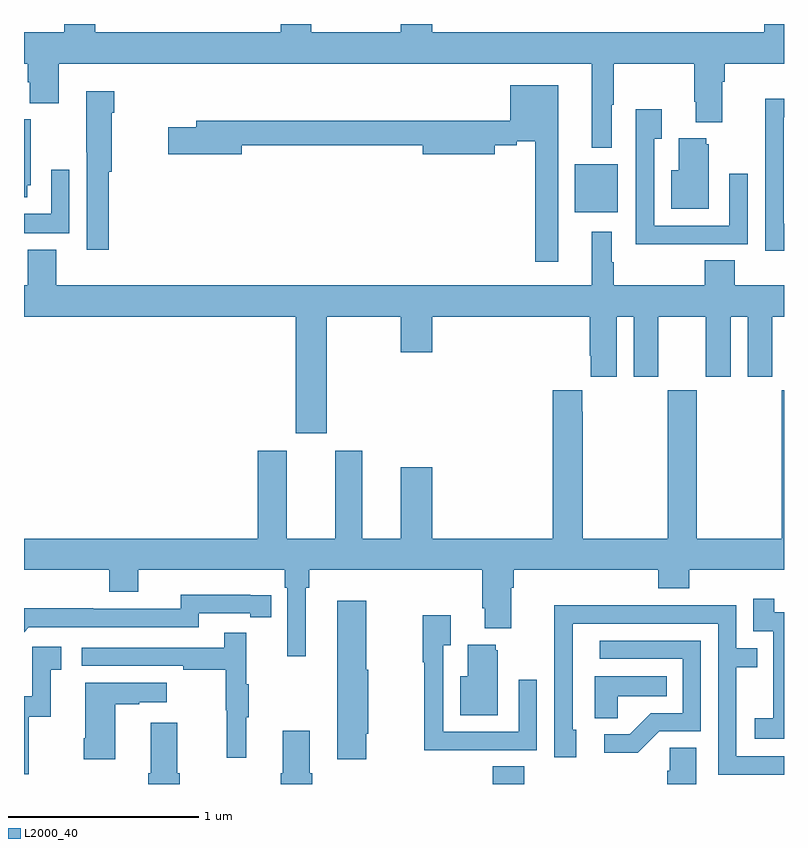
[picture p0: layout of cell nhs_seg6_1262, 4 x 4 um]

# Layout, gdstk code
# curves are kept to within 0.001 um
import gdstk
lib = gdstk.Library(unit=1e-6, precision=1e-09)
def R(c, l, rs):  # rectangles x0, y0, x1, y1
    for r in rs: c.add(gdstk.rectangle(r[:2], r[2:], *l))
def P(c, l, *ps):  # polygons
    for p in ps: c.add(gdstk.Polygon(p, *l))
L2000_40 = (2000, 40)

nhs_seg6_1262 = lib.new_cell('nhs_seg6_1262')
R(nhs_seg6_1262, L2000_40, [(189.467,987.5,189.632,987.593), (189.899,990.509,190.126,990.763)])
P(nhs_seg6_1262, L2000_40, [(190.093,991.076),(190.103,991.076),(190.103,991.292),(190.528,991.292),(190.528,991.09),(190.535,991.09),(190.535,990.983),(190.675,990.983),(190.675,991.196),(190.688,991.196),(190.688,991.292),(191,991.292),(191,991.5),(190.895,991.5),(190.895,991.456),(189.148,991.456),(189.148,991.5),(188.984,991.5),(188.984,991.456),(188.511,991.456),(188.511,991.5),(188.351,991.5),(188.351,991.456),(187.376,991.456),(187.376,991.5),(187.211,991.5),(187.211,991.456),(187,991.456),(187,991.292),(187.019,991.292),(187.019,991.193),(187.031,991.193),(187.031,991.084),(187.184,991.084),(187.184,991.292),(189.989,991.292),(189.989,990.848),(190.093,990.848)],
  [(189.811,991.177),(189.56,991.177),(189.56,990.991),(187.907,990.991),(187.907,990.957),(187.758,990.957),(187.758,990.815),(188.146,990.815),(188.146,990.862),(189.098,990.862),(189.098,990.815),(189.478,990.815),(189.478,990.862),(189.593,990.862),(189.593,990.882),(189.69,990.882),(189.69,990.249),(189.811,990.249)],
  [(187.445,990.722),(187.462,990.722),(187.462,991.034),(187.475,991.034),(187.475,991.147),(187.328,991.147),(187.328,990.826),(187.329,990.826),(187.329,990.312),(187.445,990.312)],
  [(191,990.45),(190.998,990.45),(190.998,991.008),(191,991.008),(191,991.106),(190.9,991.106),(190.9,990.799),(190.902,990.799),(190.902,990.306),(191,990.306)],
  [(190.493,990.342),(190.809,990.342),(190.809,990.712),(190.713,990.712),(190.713,990.438),(190.317,990.438),(190.317,990.895),(190.357,990.895),(190.357,991.051),(190.221,991.051),(190.221,990.341),(190.493,990.341)],
  [(187.018,990.651),(187.036,990.651),(187.036,990.999),(187,990.999),(187,990.588),(187.018,990.588)],
  [(190.603,990.867),(190.592,990.867),(190.592,990.898),(190.445,990.898),(190.445,990.73),(190.406,990.73),(190.406,990.527),(190.603,990.527)],
  [(187.239,990.733),(187.143,990.733),(187.143,990.502),(187,990.502),(187,990.398),(187.239,990.398)],
  [(188.593,989.96),(188.984,989.96),(188.984,989.772),(189.148,989.772),(189.148,989.96),(189.977,989.96),(189.977,989.755),(189.983,989.755),(189.983,989.643),(190.12,989.643),(190.12,989.96),(190.208,989.96),(190.208,989.643),(190.339,989.643),(190.339,989.96),(190.589,989.96),(190.589,989.643),(190.72,989.643),(190.72,989.96),(190.808,989.96),(190.808,989.643),(190.939,989.643),(190.939,989.96),(191,989.96),(191,990.124),(190.742,990.124),(190.742,990.257),(190.582,990.257),(190.582,990.124),(190.103,990.124),(190.103,990.245),(190.093,990.245),(190.093,990.406),(189.989,990.406),(189.989,990.124),(187.171,990.124),(187.171,990.313),(187.019,990.313),(187.019,990.124),(187,990.124),(187,989.96),(188.429,989.96),(188.429,989.346),(188.593,989.346)],
  [(188.482,988.532),(188.501,988.532),(188.501,988.628),(189.413,988.628),(189.413,988.426),(189.425,988.426),(189.425,988.319),(189.565,988.319),(189.565,988.532),(189.578,988.532),(189.578,988.628),(190.337,988.628),(190.337,988.529),(190.502,988.529),(190.502,988.628),(191,988.628),(191,989.572),(190.987,989.572),(190.987,988.792),(190.542,988.792),(190.542,989.572),(190.387,989.572),(190.387,988.792),(189.942,988.792),(189.942,989.459),(189.937,989.459),(189.937,989.572),(189.782,989.572),(189.782,988.792),(189.148,988.792),(189.148,989.167),(188.984,989.167),(188.984,988.792),(188.779,988.792),(188.779,989.254),(188.639,989.254),(188.639,988.792),(188.383,988.792),(188.383,989.254),(188.231,989.254),(188.231,988.792),(187,988.792),(187,988.628),(187.448,988.628),(187.448,988.511),(187.6,988.511),(187.6,988.628),(188.372,988.628),(188.372,988.532),(188.385,988.532),(188.385,988.173),(188.482,988.173)],
  [(187.026,988.326),(187.92,988.326),(187.92,988.398),(188.192,988.398),(188.192,988.378),(188.3,988.378),(188.3,988.494),(187.824,988.495),(187.824,988.422),(187.364,988.422),(187.364,988.424),(187,988.424),(187,988.3)],
  [(191,988.404),(190.948,988.404),(190.948,988.474),(190.839,988.474),(190.839,988.305),(190.944,988.305),(190.944,988.076),(190.943,988.076),(190.943,987.847),(190.845,987.847),(190.845,987.737),(191,987.737)],
  [(188.802,987.765),(188.812,987.765),(188.812,988.101),(188.802,988.101),(188.802,988.465),(188.648,988.465),(188.648,987.63),(188.802,987.63)],
  [(191,987.645),(190.749,987.645),(190.749,988.114),(190.859,988.114),(190.859,988.215),(190.749,988.215),(190.749,988.44),(190.253,988.44),(190.253,988.442),(189.79,988.442),(189.79,988.135),(189.792,988.135),(189.792,987.642),(189.907,987.642),(189.907,987.786),(189.888,987.786),(189.888,988.344),(190.653,988.344),(190.653,987.549),(191,987.549)],
  [(189.383,987.678),(189.699,987.678),(189.699,988.048),(189.603,988.048),(189.603,987.774),(189.207,987.774),(189.207,988.231),(189.247,988.231),(189.247,988.387),(189.099,988.387),(189.099,988.142),(189.106,988.142),(189.106,987.677),(189.383,987.677)],
  [(188.171,987.851),(188.182,987.851),(188.182,988.025),(188.171,988.025),(188.171,988.297),(188.053,988.297),(188.053,988.218),(187.305,988.218),(187.305,988.122),(187.837,988.122),(187.837,988.102),(188.061,988.102),(188.061,987.888),(188.068,987.888),(188.068,987.639),(188.171,987.639)],
  [(190.344,987.777),(190.563,987.777),(190.563,988.254),(190.029,988.254),(190.029,988.158),(190.467,988.158),(190.467,987.873),(190.298,987.873),(190.187,987.762),(190.053,987.762),(190.053,987.665),(190.231,987.665)],
  [(189.493,988.203),(189.482,988.203),(189.482,988.234),(189.335,988.234),(189.335,988.066),(189.296,988.066),(189.296,987.863),(189.493,987.863)],
  [(187.024,987.855),(187.142,987.855),(187.142,988.101),(187.195,988.101),(187.195,988.222),(187.044,988.222),(187.044,987.963),(187,987.963),(187,987.552),(187.024,987.552)],
  [(190.125,987.962),(190.382,987.962),(190.382,988.066),(190.004,988.066),(190.004,987.847),(190.125,987.847)],
  [(187.48,987.919),(187.607,987.919),(187.607,987.929),(187.75,987.929),(187.75,988.033),(187.322,988.033),(187.322,987.742),(187.315,987.742),(187.315,987.63),(187.48,987.63)],
  [(187.82,987.556),(187.807,987.556),(187.807,987.823),(187.667,987.823),(187.667,987.556),(187.655,987.556),(187.655,987.5),(187.82,987.5)],
  [(188.516,987.556),(188.503,987.556),(188.503,987.781),(188.363,987.781),(188.363,987.556),(188.351,987.556),(188.351,987.5),(188.516,987.5)],
  [(190.537,987.692),(190.398,987.692),(190.398,987.569),(190.385,987.569),(190.385,987.5),(190.537,987.5)])

lib.write_gds('nhs_seg6_1262.gds')
